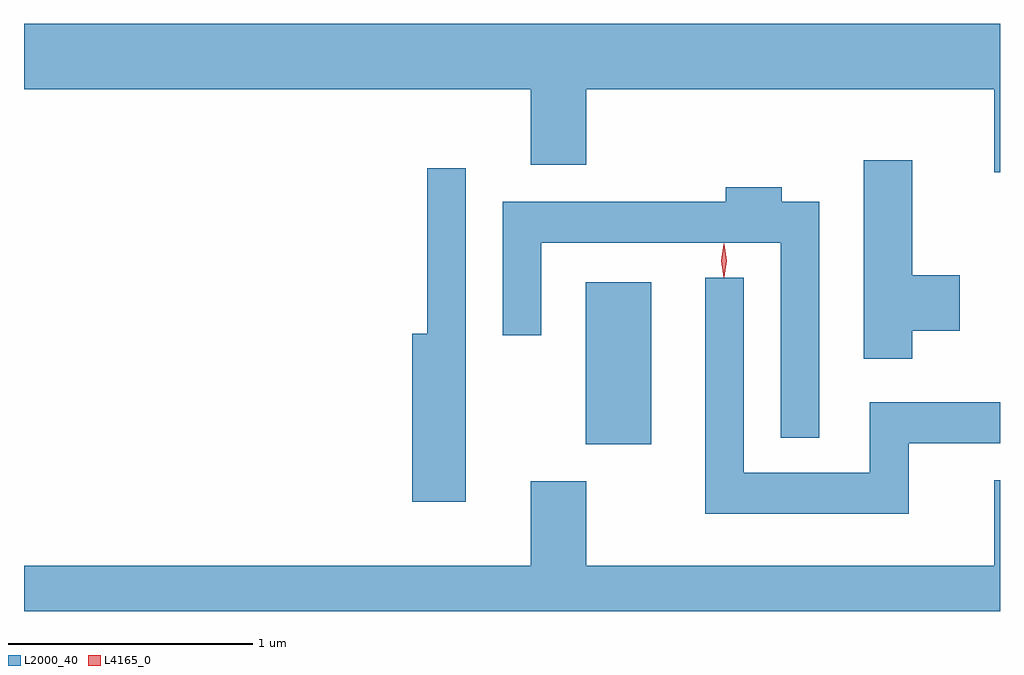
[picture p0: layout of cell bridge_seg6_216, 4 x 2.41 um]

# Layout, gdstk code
import gdstk
lib = gdstk.Library(unit=1e-6, precision=1e-09)
def R(c, l, rs):  # rectangles x0, y0, x1, y1
    for r in rs: c.add(gdstk.rectangle(r[:2], r[2:], *l))
def P(c, l, *ps):  # polygons
    for p in ps: c.add(gdstk.Polygon(p, *l))
L2000_40 = (2000, 40)
L4165_0 = (4165, 0)

bridge_seg6_216 = lib.new_cell('bridge_seg6_216')
R(bridge_seg6_216, L2000_40, [(1082.176,1550.801,1082.444,1551.464)])
P(bridge_seg6_216, L2000_40, [(1083.874,1552.524),(1079.874,1552.524),(1079.874,1552.256),(1081.951,1552.256),(1081.951,1551.946),(1082.179,1551.946),(1082.179,1552.256),(1083.851,1552.256),(1083.851,1551.916),(1083.874,1551.916)],
  [(1083.514,1551.266),(1083.709,1551.266),(1083.709,1551.494),(1083.514,1551.494),(1083.514,1551.964),(1083.316,1551.964),(1083.316,1551.151),(1083.514,1551.151)],
  [(1081.684,1551.933),(1081.526,1551.933),(1081.526,1551.254),(1081.466,1551.254),(1081.466,1550.566),(1081.684,1550.566)],
  [(1083.134,1551.794),(1082.979,1551.794),(1082.979,1551.854),(1082.751,1551.854),(1082.751,1551.794),(1081.836,1551.794),(1081.836,1551.248),(1081.994,1551.248),(1081.994,1551.626),(1082.976,1551.626),(1082.976,1550.828),(1083.134,1550.828)],
  [(1083.499,1550.806),(1083.874,1550.806),(1083.874,1550.974),(1083.341,1550.974),(1083.341,1550.684),(1082.824,1550.684),(1082.824,1551.483),(1082.666,1551.483),(1082.666,1550.516),(1083.499,1550.516)],
  [(1083.874,1550.654),(1083.851,1550.654),(1083.851,1550.304),(1082.179,1550.304),(1082.179,1550.649),(1081.951,1550.649),(1081.951,1550.304),(1079.874,1550.304),(1079.874,1550.117),(1083.874,1550.117)])
P(bridge_seg6_216, L4165_0, [(1082.744,1551.487),(1082.744,1551.487),(1082.734,1551.554),(1082.744,1551.62),(1082.744,1551.621),(1082.744,1551.62),(1082.754,1551.554),(1082.744,1551.487)],
  [(1082.742,1551.483),(1082.742,1551.484),(1082.732,1551.553),(1082.742,1551.622),(1082.742,1551.623),(1082.743,1551.622),(1082.752,1551.553),(1082.743,1551.484)])

lib.write_gds('bridge_seg6_216.gds')
